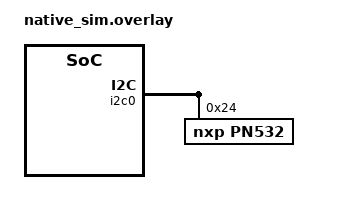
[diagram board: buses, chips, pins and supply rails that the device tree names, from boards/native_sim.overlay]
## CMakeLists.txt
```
# Copyright (c) 2025 Bayrem Gharsellaoui
# SPDX-License-Identifier: Apache-2.0

cmake_minimum_required(VERSION 3.20.0)

find_package(Zephyr COMPONENTS unittest REQUIRED HINTS $ENV{ZEPHYR_BASE})
project(unit)
zephyr_include_directories(../../../include/zephyr/drivers/pn532)
target_sources(testbinary PRIVATE main.c)
```

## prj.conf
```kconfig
# Copyright (c) 2025 Bayrem Gharsellaoui
# SPDX-License-Identifier: Apache-2.0

# ZTest
CONFIG_ZTEST=y
CONFIG_ZTEST_NEW_API=y

# Shell
CONFIG_KERNEL_SHELL=y
CONFIG_SHELL=y

# Debug
CONFIG_DEBUG=y
CONFIG_DEBUG_INFO=y
CONFIG_DEBUG_THREAD_INFO=y
CONFIG_NO_OPTIMIZATIONS=y

# Logging
CONFIG_LOG=y
CONFIG_LOG_MODE_IMMEDIATE=y

# PN532 NFC module
CONFIG_I2C=y
CONFIG_PN532=y
CONFIG_PN532_LOG_LEVEL=4
```

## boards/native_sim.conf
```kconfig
# Copyright (c) 2025 Bayrem Gharsellaoui
# SPDX-License-Identifier: Apache-2.0

# GPIO
CONFIG_GPIO=y

# Emulation
CONFIG_EMUL=y
CONFIG_I2C_EMUL=y
CONFIG_GPIO_EMUL=y
```

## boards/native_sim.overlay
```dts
&i2c0 {
    status = "okay";
    pn532: pn532@24 {
        compatible = "nxp,pn532";
        reg = <0x24>;
        status = "okay";
    };
};
```

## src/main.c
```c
/*
 * Copyright (c) 2025 Bayrem Gharsellaoui
 * SPDX-License-Identifier: Apache-2.0
 */

#include <zephyr/kernel.h>
#include <zephyr/device.h>
#include <zephyr/ztest.h>
#include <zephyr/logging/log.h>
LOG_MODULE_REGISTER(pn532_tests);

#include "pn532.h"

ZTEST_SUITE(pn532_tests, NULL, NULL, NULL, NULL, NULL);

/**
 * @brief Test firmware version retrieval for the PN532 driver
 */
ZTEST(pn532_tests, test_get_firmware_version)
{
    uint32_t version = 0;
    const struct device *dev = DEVICE_DT_GET_ONE(nxp_pn532);

    zassert_equal(EINVAL, pn532_get_firmware_version(NULL, NULL));
    zassert_equal(EINVAL, pn532_get_firmware_version(dev, NULL));
    zassert_equal(EINVAL, pn532_get_firmware_version(NULL, &version));
    zassert_equal(0, pn532_get_firmware_version(dev, &version));
}
```
